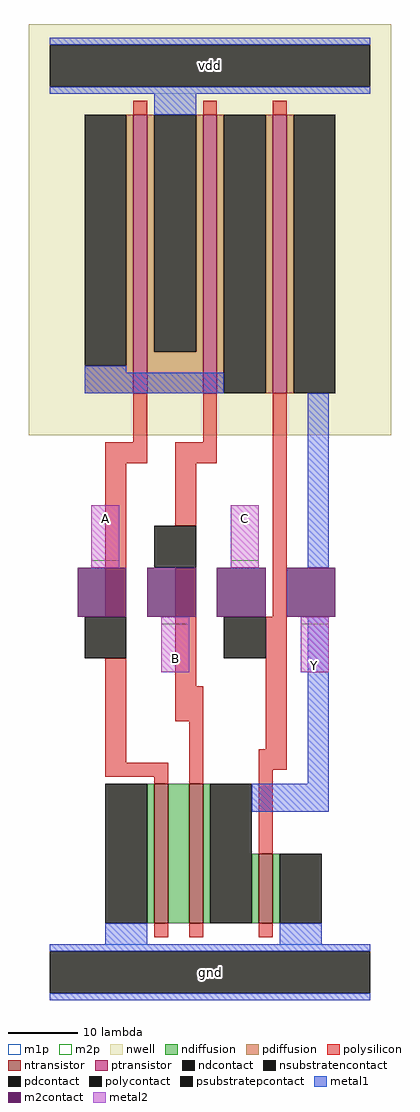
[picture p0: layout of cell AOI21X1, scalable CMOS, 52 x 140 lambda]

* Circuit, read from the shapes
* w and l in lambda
.subckt AOI21X1 A B C Y vdd gnd
M1 n1 A gnd gnd nfet w=20 l=2
M2 Y B n1 gnd nfet w=20 l=2
M3 gnd C Y gnd nfet w=10 l=2
M4 vdd A n2 vdd pfet w=40 l=2
M5 n2 B vdd vdd pfet w=40 l=2
M6 Y C n2 vdd pfet w=40 l=2
.ends

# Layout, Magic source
magic
tech scmos
<< nwell >>
rect -6 77 46 136
<< ntransistor >>
rect 12 7 14 27
rect 17 7 19 27
rect 27 7 29 17
<< ptransistor >>
rect 9 83 11 123
rect 19 83 21 123
rect 29 83 31 123
<< ndiffusion >>
rect 11 7 12 27
rect 14 7 17 27
rect 19 7 20 27
rect 26 7 27 17
rect 29 7 30 17
<< pdiffusion >>
rect 8 87 9 123
rect 2 83 9 87
rect 11 89 12 123
rect 18 89 19 123
rect 11 83 19 89
rect 21 83 22 123
rect 28 83 29 123
rect 31 83 32 123
<< ndcontact >>
rect 5 7 11 27
rect 20 7 26 27
rect 30 7 36 17
<< pdcontact >>
rect 2 87 8 123
rect 12 89 18 123
rect 22 83 28 123
rect 32 83 38 123
<< psubstratepcontact >>
rect -3 -3 43 3
<< nsubstratencontact >>
rect -3 127 43 133
<< polysilicon >>
rect 9 123 11 125
rect 19 123 21 125
rect 29 123 31 125
rect 9 76 11 83
rect 19 76 21 83
rect 5 73 11 76
rect 15 73 21 76
rect 5 51 8 73
rect 15 64 18 73
rect 5 30 8 45
rect 15 41 18 58
rect 29 51 31 83
rect 15 36 19 41
rect 5 28 14 30
rect 12 27 14 28
rect 17 27 19 36
rect 28 32 31 51
rect 27 29 31 32
rect 27 17 29 29
rect 12 5 14 7
rect 17 5 19 7
rect 27 5 29 7
<< polycontact >>
rect 12 58 18 64
rect 2 45 8 51
rect 22 45 28 51
<< metal1 >>
rect -3 133 43 134
rect -3 126 43 127
rect 12 123 18 126
rect 2 86 8 87
rect 2 83 22 86
rect 34 58 37 83
rect 34 27 37 51
rect 26 23 37 27
rect 5 4 11 7
rect 30 4 36 7
rect -3 3 43 4
rect -3 -4 43 -3
<< m2contact >>
rect 1 51 8 58
rect 11 51 18 58
rect 21 51 28 58
rect 31 51 38 58
<< metal2 >>
rect 3 58 7 67
rect 23 58 27 67
rect 13 43 17 51
rect 33 43 37 51
<< m1p >>
rect -3 126 43 134
rect -3 -4 43 4
<< m2p >>
rect 3 59 7 67
rect 23 59 27 67
rect 13 43 17 50
rect 33 43 37 50
<< labels >>
rlabel metal2 15 45 15 45 1 B
port 2 n signal input
rlabel metal2 25 65 25 65 1 C
port 3 n signal input
rlabel metal2 35 44 35 44 1 Y
port 4 n signal output
rlabel metal1 -3 126 43 134 0 vdd
port 5 nsew power bidirectional abutment
rlabel metal1 -3 -4 43 4 0 gnd
port 6 nsew ground bidirectional abutment
rlabel metal2 5 65 5 65 1 A
port 1 n signal input
<< properties >>
string FIXED_BBOX 0 0 40 130
string LEFclass CORE
string LEFsite core
string LEFsymmetry X Y
<< end >>
